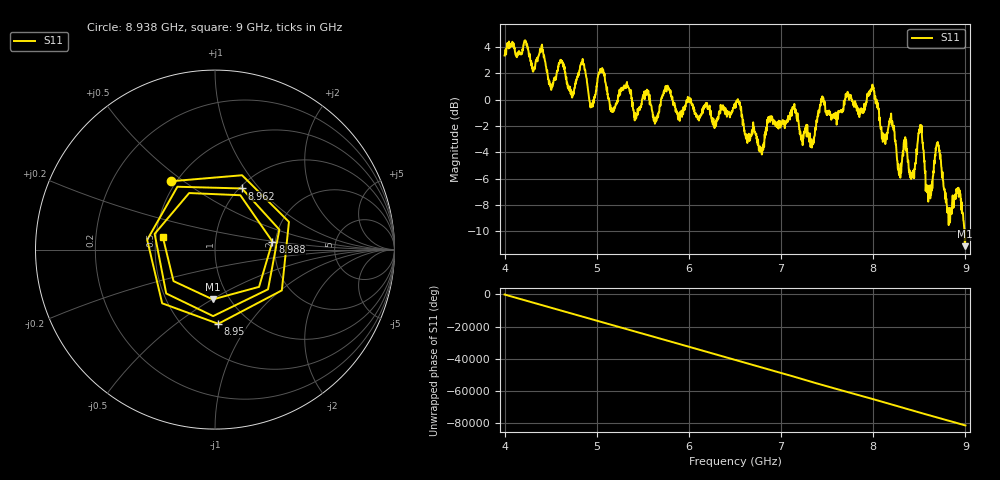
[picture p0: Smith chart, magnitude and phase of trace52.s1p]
! Created with skrf 1.8.0 (http://scikit-rf.org).
# Hz S RI R 50.0
!freq ReS11 ImS11
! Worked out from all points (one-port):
!   1601 points, 4 GHz to 9 GHz, reference 50 ohm
!   lowest |S11| = -11.1 dB at 8.994 GHz (marker M1), VSWR 1.77, Z = 41.9 - j25.2 ohm
!   |S11| at or under -10 dB: 8.991337 GHz to end of sweep
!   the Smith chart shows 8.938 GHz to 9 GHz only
!   S11 on the Smith chart (normalised r, x): 8.938 GHz: 0.47, +0.45; 8.95 GHz: 0.73, -0.73; 8.962 GHz: 1.03, +0.81; 8.988 GHz: 1.93, +0.19; 9 GHz: 0.55, +0.08
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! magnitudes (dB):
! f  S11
! 4 GHz  3.3
! 4.625 GHz  2.9
! 4.728 GHz  0.4
! 4.85 GHz  2.8
! 4.941 GHz  -0.5
! 5.047 GHz  2.2
! 5.25 GHz  0.4
! 5.875 GHz  -1.1
! 6.5 GHz  -0.6
! 6.784 GHz  -3.8
! 7.125 GHz  -0.6
! 7.331 GHz  -3.5
! 7.447 GHz  0.2
! 7.75 GHz  0.3
! 7.991 GHz  1.1
! 8.281 GHz  -5.7
! 8.375 GHz  -4.8
! 8.428 GHz  -5.5
! 8.512 GHz  -2.3
! 8.594 GHz  -6.5
! 8.697 GHz  -3.3
! 8.812 GHz  -8.5
! 8.938 GHz  -6.9
! 8.95 GHz  -7.7
! 8.962 GHz  -8.6
! 8.988 GHz  -9.8
! 8.994 GHz  -11.1
! 9 GHz  -10.5
